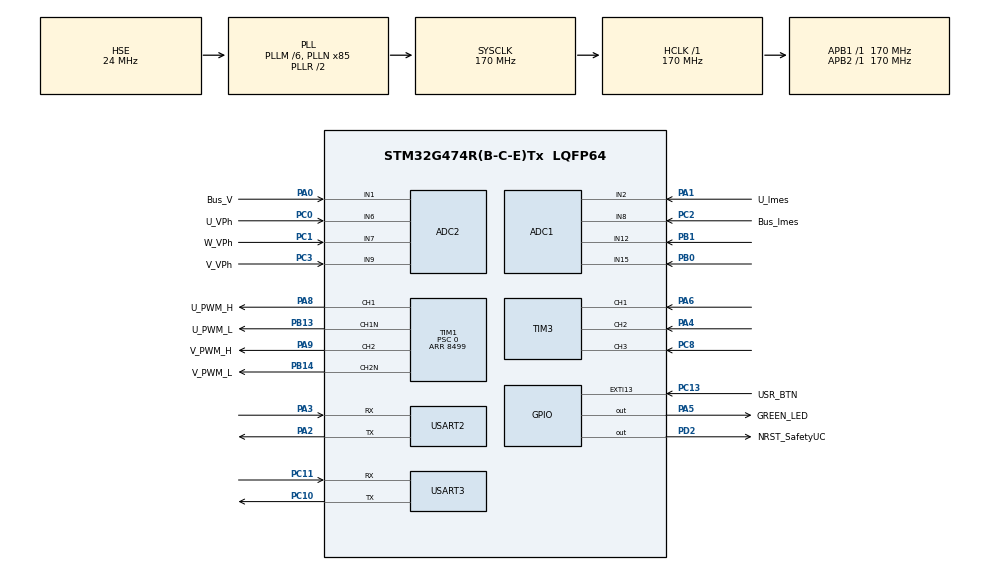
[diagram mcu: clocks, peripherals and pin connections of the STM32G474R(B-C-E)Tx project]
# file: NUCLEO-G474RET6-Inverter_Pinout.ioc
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ADC1.Channel-0\#ChannelRegularConversion=ADC_CHANNEL_8
ADC1.ContinuousConvMode=ENABLE
ADC1.DMAContinuousRequests=ENABLE
ADC1.NbrOfConversionFlag=1
ADC1.OffsetNumber-0\#ChannelRegularConversion=ADC_OFFSET_NONE
ADC1.Rank-0\#ChannelRegularConversion=1
ADC1.SamplingTime-0\#ChannelRegularConversion=ADC_SAMPLETIME_2CYCLES_5
ADC1.master=1
ADC2.Channel-0\#ChannelRegularConversion=ADC_CHANNEL_6
ADC2.NbrOfConversionFlag=1
ADC2.OffsetNumber-0\#ChannelRegularConversion=ADC_OFFSET_NONE
ADC2.Rank-0\#ChannelRegularConversion=1
ADC2.SamplingTime-0\#ChannelRegularConversion=ADC_SAMPLETIME_2CYCLES_5
Dma.ADC1.0.Direction=DMA_PERIPH_TO_MEMORY
Dma.ADC1.0.EventEnable=ENABLE
Dma.ADC1.0.Instance=DMA1_Channel1
Dma.ADC1.0.MemDataAlignment=DMA_MDATAALIGN_HALFWORD
Dma.ADC1.0.MemInc=DMA_MINC_ENABLE
Dma.ADC1.0.Mode=DMA_CIRCULAR
Dma.ADC1.0.PeriphDataAlignment=DMA_PDATAALIGN_HALFWORD
Dma.ADC1.0.PeriphInc=DMA_PINC_DISABLE
Dma.ADC1.0.Polarity=HAL_DMAMUX_REQ_GEN_RISING
Dma.ADC1.0.Priority=DMA_PRIORITY_LOW
Dma.ADC1.0.RequestNumber=1
Dma.ADC1.0.SignalID=NONE
Dma.ADC1.0.SyncEnable=ENABLE
Dma.ADC1.0.SyncPolarity=HAL_DMAMUX_SYNC_RISING
Dma.ADC1.0.SyncRequestNumber=1
Dma.ADC1.0.SyncSignalID=NONE
Dma.Request0=ADC1
Mcu.Family=STM32G4
Mcu.Name=STM32G474R(B-C-E)Tx
Mcu.Package=LQFP64
NVIC.ADC1_2_IRQn=true\:0\:0\:false\:false\:true\:true\:true\:true
NVIC.DMA1_Channel1_IRQn=true\:0\:0\:false\:false\:true\:false\:true\:true
NVIC.DMAMUX_OVR_IRQn=true\:0\:0\:false\:false\:true\:false\:true\:true
NVIC.EXTI15_10_IRQn=true\:0\:0\:false\:false\:true\:true\:true\:true
NVIC.PriorityGroup=NVIC_PRIORITYGROUP_4
NVIC.TIM1_BRK_TIM15_IRQn=true\:0\:0\:false\:false\:true\:true\:true\:true
NVIC.TIM1_CC_IRQn=true\:0\:0\:false\:false\:true\:true\:true\:true
NVIC.TIM1_TRG_COM_TIM17_IRQn=true\:0\:0\:false\:false\:true\:true\:true\:true
NVIC.TIM1_UP_TIM16_IRQn=true\:0\:0\:false\:false\:true\:true\:true\:true
NVIC.TIM6_DAC_IRQn=true\:15\:0\:false\:false\:true\:false\:true\:true
NVIC.TimeBase=TIM6_DAC_IRQn
NVIC.TimeBaseIP=TIM6
NVIC.USART2_IRQn=true\:0\:0\:false\:false\:true\:true\:true\:true
PA0.GPIO_Label=Bus_V
PA0.Mode=IN1-Single-Ended
PA0.Signal=ADC2_IN1
PA1.GPIO_Label=U_Imes
PA1.Mode=IN2-Single-Ended
PA1.Signal=ADC1_IN2
PA10.GPIO_Label=W_PWM_H
PA10.Signal=S_TIM1_CH3
PA13.GPIO_Label=T_SWDIO
PA13.Mode=Serial_Wire
PA13.Signal=SYS_JTMS-SWDIO
PA14.GPIO_Label=T_SWCLK
PA14.Mode=Serial_Wire
PA14.Signal=SYS_JTCK-SWCLK
PA2.Mode=Asynchronous
PA2.Signal=USART2_TX
PA3.Mode=Asynchronous
PA3.Signal=USART2_RX
PA4.Signal=S_TIM3_CH2
PA5.GPIO_Label=GREEN_LED
PA5.Signal=GPIO_Output
PA6.Signal=S_TIM3_CH1
PA8.GPIO_Label=U_PWM_H
PA8.Signal=S_TIM1_CH1
PA9.GPIO_Label=V_PWM_H
PA9.Signal=S_TIM1_CH2
PB0.Mode=IN15-Single-Ended
PB0.Signal=ADC1_IN15
PB1.Mode=IN12-Single-Ended
PB1.Signal=ADC1_IN12
PB13.GPIO_Label=U_PWM_L
PB13.Mode=PWM Generation1 CH1 CH1N
PB13.Signal=TIM1_CH1N
PB14.GPIO_Label=V_PWM_L
PB14.Mode=PWM Generation2 CH2 CH2N
PB14.Signal=TIM1_CH2N
PB15.GPIO_Label=W_PWM_L
PB15.Signal=TIM1_CH3N
PB3.GPIO_Label=T_SWO
PB3.Signal=SYS_JTDO-SWO
PC0.GPIO_Label=U_VPh
PC0.Mode=IN6-Single-Ended
PC0.Signal=ADC2_IN6
PC1.GPIO_Label=W_VPh
PC1.Mode=IN7-Single-Ended
PC1.Signal=ADC2_IN7
PC10.Mode=Asynchronous
PC10.Signal=USART3_TX
PC11.Mode=Asynchronous
PC11.Signal=USART3_RX
PC13.GPIO_Label=USR_BTN
PC13.Signal=GPXTI13
PC14-OSC32_IN.Mode=LSE-External-Oscillator
PC14-OSC32_IN.Signal=RCC_OSC32_IN
PC15-OSC32_OUT.Mode=LSE-External-Oscillator
PC15-OSC32_OUT.Signal=RCC_OSC32_OUT
PC2.GPIO_Label=Bus_Imes
PC2.Mode=IN8-Single-Ended
PC2.Signal=ADC1_IN8
PC3.GPIO_Label=V_VPh
PC3.Mode=IN9-Single-Ended
PC3.Signal=ADC2_IN9
PC8.Signal=S_TIM3_CH3
PD2.GPIO_Label=NRST_SafetyUC
PD2.Signal=GPIO_Output
PF0-OSC_IN.Mode=HSE-External-Oscillator
PF0-OSC_IN.Signal=RCC_OSC_IN
PF1-OSC_OUT.Mode=HSE-External-Oscillator
PF1-OSC_OUT.Signal=RCC_OSC_OUT
ProjectManager.HeapSize=0x200
ProjectManager.StackSize=0x400
ProjectManager.TargetToolchain=STM32CubeIDE
RCC.ADC12Freq_Value=170000000
RCC.ADC345Freq_Value=170000000
RCC.AHBFreq_Value=170000000
RCC.APB1Freq_Value=170000000
RCC.APB1TimFreq_Value=170000000
RCC.APB2Freq_Value=170000000
RCC.APB2TimFreq_Value=170000000
RCC.CortexFreq_Value=170000000
RCC.EXTERNAL_CLOCK_VALUE=12288000
RCC.HCLKFreq_Value=170000000
RCC.HSE_VALUE=24000000
RCC.HSI48_VALUE=48000000
RCC.HSI_VALUE=16000000
RCC.PLLM=RCC_PLLM_DIV6
RCC.PLLN=85
RCC.PLLSourceVirtual=RCC_PLLSOURCE_HSE
RCC.RTCClockSelection=RCC_RTCCLKSOURCE_LSE
RCC.SYSCLKFreq_VALUE=170000000
RCC.SYSCLKSource=RCC_SYSCLKSOURCE_PLLCLK
RCC.USBFreq_Value=170000000
RCC.VCOOutputFreq_Value=340000000
SH.S_TIM1_CH1.0=TIM1_CH1,PWM Generation1 CH1 CH1N
SH.S_TIM1_CH2.0=TIM1_CH2,PWM Generation2 CH2 CH2N
SH.S_TIM1_CH3.0=TIM1_CH3
SH.S_TIM3_CH1.0=TIM3_CH1,Xored_Inputs_Hall_Sensor_Interface
SH.S_TIM3_CH2.0=TIM3_CH2,Xored_Inputs_Hall_Sensor_Interface
SH.S_TIM3_CH3.0=TIM3_CH3,Xored_Inputs_Hall_Sensor_Interface
TIM1.Channel-PWM\ Generation1\ CH1\ CH1N=TIM_CHANNEL_1
TIM1.Channel-PWM\ Generation2\ CH2\ CH2N=TIM_CHANNEL_2
TIM1.CounterMode=TIM_COUNTERMODE_CENTERALIGNED1
TIM1.DeadTime=160
TIM1.DeadTimePreload=ENABLE
TIM1.PeriodNoDither=8499
TIM1.Prescaler=0
TIM1.PulseNoDither_1=4250
TIM1.PulseNoDither_2=8500-1-4250
USART2.VirtualMode-Asynchronous=VM_ASYNC
USART3.VirtualMode-Asynchronous=VM_ASYNC
VP_SYS_VS_DBSignals.Mode=DisableDeadBatterySignals
VP_SYS_VS_tim6.Mode=TIM6
VP_TIM1_VS_ClockSourceINT.Mode=Internal
board=NUCLEO-G474RE

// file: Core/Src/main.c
/* USER CODE BEGIN Header */
/**
  ******************************************************************************
  * @file           : main.c
  * @brief          : Main program body
  ******************************************************************************
  * @attention
  *
  * Copyright (c) 2023 STMicroelectronics.
  * All rights reserved.
  *
  * This software is licensed under terms that can be found in the LICENSE file
  * in the root directory of this software component.
  * If no LICENSE file comes with this software, it is provided AS-IS.
  *
  ******************************************************************************
  */
/* USER CODE END Header */
#include "main.h"

/* USER CODE BEGIN Includes */
#include <stdio.h>
#include <string.h>
#include <stdlib.h>
#include "motor.h"
/* USER CODE END Includes */

ADC_HandleTypeDef hadc1;
ADC_HandleTypeDef hadc2;
DMA_HandleTypeDef hdma_adc1;

TIM_HandleTypeDef htim1;
TIM_HandleTypeDef htim3;

UART_HandleTypeDef huart2;
UART_HandleTypeDef huart3;

/* USER CODE BEGIN PV */
uint8_t prompt[]="user@Nucleo-STM32G431>>";
uint8_t started[]=
		"\r\n*-----------------------------*"
		"\r\n| Welcome on Nucleo-STM32G431 |"
		"\r\n*-----------------------------*"
		"\r\n";
uint8_t newline[]="\r\n";
uint8_t cmdNotFound[]="Command not found\r\n";
uint32_t uartRxReceived;
uint8_t uartRxBuffer[UART_RX_BUFFER_SIZE];
uint8_t uartTxBuffer[UART_TX_BUFFER_SIZE];
uint8_t help[]=
		"\r\n*-----------------------------*"
		"\r\n| List of available commands |"
		"\r\n| help |"
		"\r\n| pinout |"
		"\r\n| powerOn |"
		"\r\n| powerOff |"
		"\r\n| speed |"
		"\r\n| current |"
		"\r\n*-----------------------------*"
		"\r\n";
uint8_t pinout[]=
		"\r\n*-----------------------------*"
		"\r\n| List of available pins |"
		"\r\n| PA2 = USART2_TX |"
		"\r\n| PA3 = USART2_RX |"
		"\r\n| PA8 = V_PWM_H |"
		"\r\n| PA9 = U_PWM_H |"
		"\r\n| PB13 = V_PWM_L |"
		"\r\n| PB14 = U_PWM_L |"
		"\r\n*-----------------------------*"
		"\r\n";
uint8_t powerOn[]= "Motor On\r\n";
uint8_t powerOff[]="Motor Off\r\n";

uint8_t adc_flag=0;

/* USER CODE END PV */

void SystemClock_Config(void);
static void MX_GPIO_Init(void);
static void MX_DMA_Init(void);
static void MX_ADC2_Init(void);
static void MX_ADC1_Init(void);
static void MX_TIM1_Init(void);
static void MX_TIM3_Init(void);
static void MX_USART2_UART_Init(void);
static void MX_USART3_UART_Init(void);

int main(void)
{

  /* USER CODE BEGIN 1 */
	char	 	cmdBuffer[CMD_BUFFER_SIZE];
	int 		idx_cmd;
	char* 		argv[MAX_ARGS];
	int		 	argc = 0;
	char*		token;
	int 		newCmdReady = 0;
  /* USER CODE END 1 */

  /* MCU Configuration--------------------------------------------------------*/

  /* Reset of all peripherals, Initializes the Flash interface and the Systick. */
  HAL_Init();

  /* Configure the system clock */
  SystemClock_Config();

  /* Initialize all configured peripherals */
  MX_GPIO_Init();
  MX_DMA_Init();
  MX_ADC2_Init();
  MX_ADC1_Init();
  MX_TIM1_Init();
  MX_TIM3_Init();
  MX_USART2_UART_Init();
  MX_USART3_UART_Init();
  /* USER CODE BEGIN 2 */

//void Shell_Init(void){
  memset(argv,NULL,MAX_ARGS*sizeof(char*));
  memset(cmdBuffer,NULL,CMD_BUFFER_SIZE*sizeof(char));
  memset(uartRxBuffer,NULL,UART_RX_BUFFER_SIZE*sizeof(char));
  memset(uartTxBuffer,NULL,UART_TX_BUFFER_SIZE*sizeof(char));

  HAL_UART_Receive_IT(&huart2, uartRxBuffer, UART_RX_BUFFER_SIZE);
  HAL_Delay(10);
  HAL_UART_Transmit(&huart2, started, sizeof(started), HAL_MAX_DELAY);
  HAL_UART_Transmit(&huart2, prompt, sizeof(prompt), HAL_MAX_DELAY);
//}

  /* USER CODE END 2 */

  /* Infinite loop */
  /* USER CODE BEGIN WHILE */
  while (1)
  {
	  /**
	   * Vérifie que le caractère a été reçu : uartRxReceived mis à 1
	   */
	  	  if(uartRxReceived)
	  	  {
	  		  /**
	  		   * Echo du caractère sur la console
	  		   */
	  		  switch(uartRxBuffer[0]){
	  		  // Nouvelle ligne, instruction à traiter
	  		  case ASCII_CR:
	  			  HAL_UART_Transmit(&huart2, newline, sizeof(newline), HAL_MAX_DELAY);
	  			  cmdBuffer[idx_cmd] = '\0';
	  			  argc = 0;
	  			  token = strtok(cmdBuffer, " ");
	  			  while(token!=NULL){
	  				  argv[argc++] = token;
	  				  token = strtok(NULL, " ");
	  			  }

	  			  idx_cmd = 0;
	  			  newCmdReady = 1;
	  			  break;
	  		  // Suppression du dernier caractère
	  		  case ASCII_DEL:
	  			  cmdBuffer[idx_cmd--] = '\0';
	  			  HAL_UART_Transmit(&huart2, uartRxBuffer, UART_RX_BUFFER_SIZE, HAL_MAX_DELAY);
	  			  break;
	  	      // Nouveau caractère
	  		  default:
	  			  cmdBuffer[idx_cmd++] = uartRxBuffer[0];
	  			  HAL_UART_Transmit(&huart2, uartRxBuffer, UART_RX_BUFFER_SIZE, HAL_MAX_DELAY);
	  		  }
	  		  uartRxReceived = 0;
	  	  }

	  	  if(newCmdReady){
	  		  if(strcmp(argv[0],"set")==0){
	  			  if(strcmp(argv[1],"PA5")==0){
	  				  HAL_GPIO_WritePin(GREEN_LED_GPIO_Port, GREEN_LED_Pin, atoi(argv[2]));
	  				  sprintf(uartTxBuffer,"Switch on/off led : %d\r\n",atoi(argv[2]));
	  				  HAL_UART_Transmit(&huart2, uartTxBuffer, 32, HAL_MAX_DELAY);
	  			  }
	  			  else{
	  				  HAL_UART_Transmit(&huart2, cmdNotFound, sizeof(cmdNotFound), HAL_MAX_DELAY);
	  			  }
	  		  }
	  		  else if(strcmp(argv[0],"pinout")==0)
	  		  {
	  			  HAL_UART_Transmit(&huart2, pinout, sizeof(pinout), HAL_MAX_DELAY);
	  		  }
	  		  else if(strcmp(argv[0],"help")==0)
	  		  {
	  			  HAL_UART_Transmit(&huart2, help, sizeof(help), HAL_MAX_DELAY);
	  		  }
	  		  else if(strcmp(argv[0],"powerOn")==0)
	  		  {
	  			  HAL_UART_Transmit(&huart2, powerOn, sizeof(powerOn), HAL_MAX_DELAY);
	  			  motor_start();
	  		  }
	  		  else if(strcmp(argv[0],"powerOff")==0)
	  		  {
	  			  HAL_UART_Transmit(&huart2, powerOff, sizeof(powerOff), HAL_MAX_DELAY);
	  			  motor_off();
	  		  }
	  		  else if(strcmp(argv[0],"get")==0)
	  		  {
	  			  HAL_UART_Transmit(&huart2, cmdNotFound, sizeof(cmdNotFound), HAL_MAX_DELAY);
	  		  }
	  		  /**
	  		   * Speed control
	  		   * Entrer speed XXXX dans le terminal (entre 0 et 8499)
	  		   * XXXX est converti en rapport cyclique
	  		   */
	  		  else if(strcmp(argv[0],"speed")==0){
	  			  motor_speed(atoi(argv[1]));
	  			  sprintf(uartTxBuffer,"Speed : %d \r\n", atoi(argv[1]));
	  			  HAL_UART_Transmit(&huart2, uartTxBuffer, sizeof(uartTxBuffer), HAL_MAX_DELAY);
	  		  }

	  		  else if(strcmp(argv[0],"current")==0){
	  			  measure_current();
	  		  }

	  		  else{
	  			  HAL_UART_Transmit(&huart2, cmdNotFound, sizeof(cmdNotFound), HAL_MAX_DELAY);
	  		  }
	  			  HAL_UART_Transmit(&huart2, prompt, sizeof(prompt), HAL_MAX_DELAY);
	  			  newCmdReady = 0;
	  	  }

    /* USER CODE END WHILE */

  }
}

void SystemClock_Config(void)
{
  RCC_OscInitTypeDef RCC_OscInitStruct = {0};
  RCC_ClkInitTypeDef RCC_ClkInitStruct = {0};

  /** Configure the main internal regulator output voltage
  */
  HAL_PWREx_ControlVoltageScaling(PWR_REGULATOR_VOLTAGE_SCALE1_BOOST);

  /** Initializes the RCC Oscillators according to the specified parameters
  * in the RCC_OscInitTypeDef structure.
  */
  RCC_OscInitStruct.OscillatorType = RCC_OSCILLATORTYPE_HSE;
  RCC_OscInitStruct.HSEState = RCC_HSE_ON;
  RCC_OscInitStruct.PLL.PLLState = RCC_PLL_ON;
  RCC_OscInitStruct.PLL.PLLSource = RCC_PLLSOURCE_HSE;
  RCC_OscInitStruct.PLL.PLLM = RCC_PLLM_DIV6;
  RCC_OscInitStruct.PLL.PLLN = 85;
  RCC_OscInitStruct.PLL.PLLP = RCC_PLLP_DIV2;
  RCC_OscInitStruct.PLL.PLLQ = RCC_PLLQ_DIV2;
  RCC_OscInitStruct.PLL.PLLR = RCC_PLLR_DIV2;
  if (HAL_RCC_OscConfig(&RCC_OscInitStruct) != HAL_OK)
  {
    Error_Handler();
  }

  /** Initializes the CPU, AHB and APB buses clocks
  */
  RCC_ClkInitStruct.ClockType = RCC_CLOCKTYPE_HCLK|RCC_CLOCKTYPE_SYSCLK
                              |RCC_CLOCKTYPE_PCLK1|RCC_CLOCKTYPE_PCLK2;
  RCC_ClkInitStruct.SYSCLKSource = RCC_SYSCLKSOURCE_PLLCLK;
  RCC_ClkInitStruct.AHBCLKDivider = RCC_SYSCLK_DIV1;
  RCC_ClkInitStruct.APB1CLKDivider = RCC_HCLK_DIV1;
  RCC_ClkInitStruct.APB2CLKDivider = RCC_HCLK_DIV1;

  if (HAL_RCC_ClockConfig(&RCC_ClkInitStruct, FLASH_LATENCY_4) != HAL_OK)
  {
    Error_Handler();
  }
}

static void MX_ADC1_Init(void)
{

  ADC_MultiModeTypeDef multimode = {0};
  ADC_ChannelConfTypeDef sConfig = {0};

  /** Common config
  */
  hadc1.Instance = ADC1;
  hadc1.Init.ClockPrescaler = ADC_CLOCK_SYNC_PCLK_DIV4;
  hadc1.Init.Resolution = ADC_RESOLUTION_12B;
  hadc1.Init.DataAlign = ADC_DATAALIGN_RIGHT;
  hadc1.Init.GainCompensation = 0;
  hadc1.Init.ScanConvMode = ADC_SCAN_DISABLE;
  hadc1.Init.EOCSelection = ADC_EOC_SINGLE_CONV;
  hadc1.Init.LowPowerAutoWait = DISABLE;
  hadc1.Init.ContinuousConvMode = ENABLE;
  hadc1.Init.NbrOfConversion = 1;
  hadc1.Init.DiscontinuousConvMode = DISABLE;
  hadc1.Init.ExternalTrigConv = ADC_SOFTWARE_START;
  hadc1.Init.ExternalTrigConvEdge = ADC_EXTERNALTRIGCONVEDGE_NONE;
  hadc1.Init.DMAContinuousRequests = ENABLE;
  hadc1.Init.Overrun = ADC_OVR_DATA_PRESERVED;
  hadc1.Init.OversamplingMode = DISABLE;
  if (HAL_ADC_Init(&hadc1) != HAL_OK)
  {
    Error_Handler();
  }

  /** Configure the ADC multi-mode
  */
  multimode.Mode = ADC_MODE_INDEPENDENT;
  if (HAL_ADCEx_MultiModeConfigChannel(&hadc1, &multimode) != HAL_OK)
  {
    Error_Handler();
  }

  /** Configure Regular Channel
  */
  sConfig.Channel = ADC_CHANNEL_8;
  sConfig.Rank = ADC_REGULAR_RANK_1;
  sConfig.SamplingTime = ADC_SAMPLETIME_2CYCLES_5;
  sConfig.SingleDiff = ADC_SINGLE_ENDED;
  sConfig.OffsetNumber = ADC_OFFSET_NONE;
  sConfig.Offset = 0;
  if (HAL_ADC_ConfigChannel(&hadc1, &sConfig) != HAL_OK)
  {
    Error_Handler();
  }

}

static void MX_ADC2_Init(void)
{

  ADC_ChannelConfTypeDef sConfig = {0};

  /** Common config
  */
  hadc2.Instance = ADC2;
  hadc2.Init.ClockPrescaler = ADC_CLOCK_SYNC_PCLK_DIV4;
  hadc2.Init.Resolution = ADC_RESOLUTION_12B;
  hadc2.Init.DataAlign = ADC_DATAALIGN_RIGHT;
  hadc2.Init.GainCompensation = 0;
  hadc2.Init.ScanConvMode = ADC_SCAN_DISABLE;
  hadc2.Init.EOCSelection = ADC_EOC_SINGLE_CONV;
  hadc2.Init.LowPowerAutoWait = DISABLE;
  hadc2.Init.ContinuousConvMode = DISABLE;
  hadc2.Init.NbrOfConversion = 1;
  hadc2.Init.DiscontinuousConvMode = DISABLE;
  hadc2.Init.ExternalTrigConv = ADC_SOFTWARE_START;
  hadc2.Init.ExternalTrigConvEdge = ADC_EXTERNALTRIGCONVEDGE_NONE;
  hadc2.Init.DMAContinuousRequests = DISABLE;
  hadc2.Init.Overrun = ADC_OVR_DATA_PRESERVED;
  hadc2.Init.OversamplingMode = DISABLE;
  if (HAL_ADC_Init(&hadc2) != HAL_OK)
  {
    Error_Handler();
  }

  /** Configure Regular Channel
  */
  sConfig.Channel = ADC_CHANNEL_6;
  sConfig.Rank = ADC_REGULAR_RANK_1;
  sConfig.SamplingTime = ADC_SAMPLETIME_2CYCLES_5;
  sConfig.SingleDiff = ADC_SINGLE_ENDED;
  sConfig.OffsetNumber = ADC_OFFSET_NONE;
  sConfig.Offset = 0;
  if (HAL_ADC_ConfigChannel(&hadc2, &sConfig) != HAL_OK)
  {
    Error_Handler();
  }

}

static void MX_TIM1_Init(void)
{

  TIM_ClockConfigTypeDef sClockSourceConfig = {0};
  TIM_MasterConfigTypeDef sMasterConfig = {0};
  TIM_OC_InitTypeDef sConfigOC = {0};
  TIM_BreakDeadTimeConfigTypeDef sBreakDeadTimeConfig = {0};

  htim1.Instance = TIM1;
  htim1.Init.Prescaler = 0;
  htim1.Init.CounterMode = TIM_COUNTERMODE_CENTERALIGNED1;
  htim1.Init.Period = 8499;
  htim1.Init.ClockDivision = TIM_CLOCKDIVISION_DIV1;
  htim1.Init.RepetitionCounter = 0;
  htim1.Init.AutoReloadPreload = TIM_AUTORELOAD_PRELOAD_DISABLE;
  if (HAL_TIM_Base_Init(&htim1) != HAL_OK)
  {
    Error_Handler();
  }
  sClockSourceConfig.ClockSource = TIM_CLOCKSOURCE_INTERNAL;
  if (HAL_TIM_ConfigClockSource(&htim1, &sClockSourceConfig) != HAL_OK)
  {
    Error_Handler();
  }
  if (HAL_TIM_PWM_Init(&htim1) != HAL_OK)
  {
    Error_Handler();
  }
  sMasterConfig.MasterOutputTrigger = TIM_TRGO_RESET;
  sMasterConfig.MasterOutputTrigger2 = TIM_TRGO2_RESET;
  sMasterConfig.MasterSlaveMode = TIM_MASTERSLAVEMODE_DISABLE;
  if (HAL_TIMEx_MasterConfigSynchronization(&htim1, &sMasterConfig) != HAL_OK)
  {
    Error_Handler();
  }
  sConfigOC.OCMode = TIM_OCMODE_PWM1;
  sConfigOC.Pulse = 4250;
  sConfigOC.OCPolarity = TIM_OCPOLARITY_HIGH;
  sConfigOC.OCNPolarity = TIM_OCNPOLARITY_HIGH;
  sConfigOC.OCFastMode = TIM_OCFAST_DISABLE;
  sConfigOC.OCIdleState = TIM_OCIDLESTATE_RESET;
  sConfigOC.OCNIdleState = TIM_OCNIDLESTATE_RESET;
  if (HAL_TIM_PWM_ConfigChannel(&htim1, &sConfigOC, TIM_CHANNEL_1) != HAL_OK)
  {
    Error_Handler();
  }
  sConfigOC.Pulse = 4249;
  if (HAL_TIM_PWM_ConfigChannel(&htim1, &sConfigOC, TIM_CHANNEL_2) != HAL_OK)
  {
    Error_Handler();
  }
  HAL_TIMEx_EnableDeadTimePreload(&htim1);
  sBreakDeadTimeConfig.OffStateRunMode = TIM_OSSR_DISABLE;
  sBreakDeadTimeConfig.OffStateIDLEMode = TIM_OSSI_DISABLE;
  sBreakDeadTimeConfig.LockLevel = TIM_LOCKLEVEL_OFF;
  sBreakDeadTimeConfig.DeadTime = 160;
  sBreakDeadTimeConfig.BreakState = TIM_BREAK_DISABLE;
  sBreakDeadTimeConfig.BreakPolarity = TIM_BREAKPOLARITY_HIGH;
  sBreakDeadTimeConfig.BreakFilter = 0;
  sBreakDeadTimeConfig.BreakAFMode = TIM_BREAK_AFMODE_INPUT;
  sBreakDeadTimeConfig.Break2State = TIM_BREAK2_DISABLE;
  sBreakDeadTimeConfig.Break2Polarity = TIM_BREAK2POLARITY_HIGH;
  sBreakDeadTimeConfig.Break2Filter = 0;
  sBreakDeadTimeConfig.Break2AFMode = TIM_BREAK_AFMODE_INPUT;
  sBreakDeadTimeConfig.AutomaticOutput = TIM_AUTOMATICOUTPUT_DISABLE;
  if (HAL_TIMEx_ConfigBreakDeadTime(&htim1, &sBreakDeadTimeConfig) != HAL_OK)
  {
    Error_Handler();
  }
  HAL_TIM_MspPostInit(&htim1);

}

static void MX_TIM3_Init(void)
{

  TIM_HallSensor_InitTypeDef sConfig = {0};
  TIM_MasterConfigTypeDef sMasterConfig = {0};

  htim3.Instance = TIM3;
  htim3.Init.Prescaler = 0;
  htim3.Init.CounterMode = TIM_COUNTERMODE_UP;
  htim3.Init.Period = 65535;
  htim3.Init.ClockDivision = TIM_CLOCKDIVISION_DIV1;
  htim3.Init.AutoReloadPreload = TIM_AUTORELOAD_PRELOAD_DISABLE;
  sConfig.IC1Polarity = TIM_ICPOLARITY_RISING;
  sConfig.IC1Prescaler = TIM_ICPSC_DIV1;
  sConfig.IC1Filter = 0;
  sConfig.Commutation_Delay = 0;
  if (HAL_TIMEx_HallSensor_Init(&htim3, &sConfig) != HAL_OK)
  {
    Error_Handler();
  }
  sMasterConfig.MasterOutputTrigger = TIM_TRGO_OC2REF;
  sMasterConfig.MasterSlaveMode = TIM_MASTERSLAVEMODE_DISABLE;
  if (HAL_TIMEx_MasterConfigSynchronization(&htim3, &sMasterConfig) != HAL_OK)
  {
    Error_Handler();
  }

}

static void MX_USART2_UART_Init(void)
{

  huart2.Instance = USART2;
  huart2.Init.BaudRate = 115200;
  huart2.Init.WordLength = UART_WORDLENGTH_8B;
  huart2.Init.StopBits = UART_STOPBITS_1;
  huart2.Init.Parity = UART_PARITY_NONE;
  huart2.Init.Mode = UART_MODE_TX_RX;
  huart2.Init.HwFlowCtl = UART_HWCONTROL_NONE;
  huart2.Init.OverSampling = UART_OVERSAMPLING_16;
  huart2.Init.OneBitSampling = UART_ONE_BIT_SAMPLE_DISABLE;
  huart2.Init.ClockPrescaler = UART_PRESCALER_DIV1;
  huart2.AdvancedInit.AdvFeatureInit = UART_ADVFEATURE_NO_INIT;
  if (HAL_UART_Init(&huart2) != HAL_OK)
  {
    Error_Handler();
  }
  if (HAL_UARTEx_SetTxFifoThreshold(&huart2, UART_TXFIFO_THRESHOLD_1_8) != HAL_OK)
  {
    Error_Handler();
  }
  if (HAL_UARTEx_SetRxFifoThreshold(&huart2, UART_RXFIFO_THRESHOLD_1_8) != HAL_OK)
  {
    Error_Handler();
  }
  if (HAL_UARTEx_DisableFifoMode(&huart2) != HAL_OK)
  {
    Error_Handler();
  }

}

static void MX_USART3_UART_Init(void)
{

  huart3.Instance = USART3;
  huart3.Init.BaudRate = 115200;
  huart3.Init.WordLength = UART_WORDLENGTH_8B;
  huart3.Init.StopBits = UART_STOPBITS_1;
  huart3.Init.Parity = UART_PARITY_NONE;
  huart3.Init.Mode = UART_MODE_TX_RX;
  huart3.Init.HwFlowCtl = UART_HWCONTROL_NONE;
  huart3.Init.OverSampling = UART_OVERSAMPLING_16;
  huart3.Init.OneBitSampling = UART_ONE_BIT_SAMPLE_DISABLE;
  huart3.Init.ClockPrescaler = UART_PRESCALER_DIV1;
  huart3.AdvancedInit.AdvFeatureInit = UART_ADVFEATURE_NO_INIT;
  if (HAL_UART_Init(&huart3) != HAL_OK)
  {
    Error_Handler();
  }
  if (HAL_UARTEx_SetTxFifoThreshold(&huart3, UART_TXFIFO_THRESHOLD_1_8) != HAL_OK)
  {
    Error_Handler();
  }
  if (HAL_UARTEx_SetRxFifoThreshold(&huart3, UART_RXFIFO_THRESHOLD_1_8) != HAL_OK)
  {
    Error_Handler();
  }
  if (HAL_UARTEx_DisableFifoMode(&huart3) != HAL_OK)
  {
    Error_Handler();
  }

}

static void MX_DMA_Init(void)
{

  /* DMA controller clock enable */
  __HAL_RCC_DMAMUX1_CLK_ENABLE();
  __HAL_RCC_DMA1_CLK_ENABLE();

  /* DMA interrupt init */
  /* DMA1_Channel1_IRQn interrupt configuration */
  HAL_NVIC_SetPriority(DMA1_Channel1_IRQn, 0, 0);
  HAL_NVIC_EnableIRQ(DMA1_Channel1_IRQn);
  /* DMAMUX_OVR_IRQn interrupt configuration */
  HAL_NVIC_SetPriority(DMAMUX_OVR_IRQn, 0, 0);
  HAL_NVIC_EnableIRQ(DMAMUX_OVR_IRQn);

}

static void MX_GPIO_Init(void)
{
  GPIO_InitTypeDef GPIO_InitStruct = {0};

  /* GPIO Ports Clock Enable */
  __HAL_RCC_GPIOC_CLK_ENABLE();
  __HAL_RCC_GPIOF_CLK_ENABLE();
  __HAL_RCC_GPIOA_CLK_ENABLE();
  __HAL_RCC_GPIOB_CLK_ENABLE();
  __HAL_RCC_GPIOD_CLK_ENABLE();

  /*Configure GPIO pin Output Level */
  HAL_GPIO_WritePin(GREEN_LED_GPIO_Port, GREEN_LED_Pin, GPIO_PIN_RESET);

  /*Configure GPIO pin Output Level */
  HAL_GPIO_WritePin(NRST_SafetyUC_GPIO_Port, NRST_SafetyUC_Pin, GPIO_PIN_RESET);

  /*Configure GPIO pin : USR_BTN_Pin */
  GPIO_InitStruct.Pin = USR_BTN_Pin;
  GPIO_InitStruct.Mode = GPIO_MODE_IT_RISING;
  GPIO_InitStruct.Pull = GPIO_NOPULL;
  HAL_GPIO_Init(USR_BTN_GPIO_Port, &GPIO_InitStruct);

  /*Configure GPIO pin : GREEN_LED_Pin */
  GPIO_InitStruct.Pin = GREEN_LED_Pin;
  GPIO_InitStruct.Mode = GPIO_MODE_OUTPUT_PP;
  GPIO_InitStruct.Pull = GPIO_NOPULL;
  GPIO_InitStruct.Speed = GPIO_SPEED_FREQ_LOW;
  HAL_GPIO_Init(GREEN_LED_GPIO_Port, &GPIO_InitStruct);

  /*Configure GPIO pin : NRST_SafetyUC_Pin */
  GPIO_InitStruct.Pin = NRST_SafetyUC_Pin;
  GPIO_InitStruct.Mode = GPIO_MODE_OUTPUT_PP;
  GPIO_InitStruct.Pull = GPIO_NOPULL;
  GPIO_InitStruct.Speed = GPIO_SPEED_FREQ_LOW;
  HAL_GPIO_Init(NRST_SafetyUC_GPIO_Port, &GPIO_InitStruct);

  /* EXTI interrupt init*/
  HAL_NVIC_SetPriority(EXTI15_10_IRQn, 0, 0);
  HAL_NVIC_EnableIRQ(EXTI15_10_IRQn);

}

/* USER CODE BEGIN 4 */
void HAL_UART_RxCpltCallback (UART_HandleTypeDef * huart){
	uartRxReceived = 1;
	HAL_UART_Receive_IT(&huart2, uartRxBuffer, UART_RX_BUFFER_SIZE);
}

void HAL_ADC_ConvCpltCallback(ADC_HandleTypeDef *hadc)
{
	adc_flag=1;
}
/* USER CODE END 4 */

void HAL_TIM_PeriodElapsedCallback(TIM_HandleTypeDef *htim)
{
  if (htim->Instance == TIM6) {
    HAL_IncTick();
  }
}

void Error_Handler(void)
{
  __disable_irq();
  while (1)
  {
  }
}
